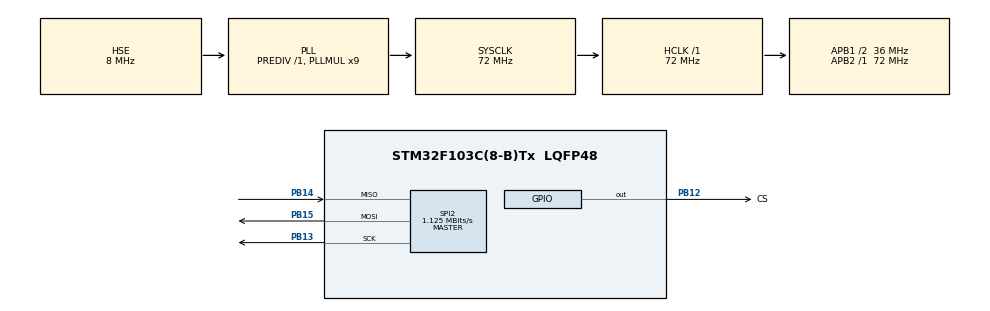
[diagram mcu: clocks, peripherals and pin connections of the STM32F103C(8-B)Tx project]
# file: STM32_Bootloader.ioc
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Mcu.Family=STM32F1
Mcu.Name=STM32F103C(8-B)Tx
Mcu.Package=LQFP48
NVIC.PriorityGroup=NVIC_PRIORITYGROUP_4
PA13.Mode=Serial_Wire
PA13.Signal=SYS_JTMS-SWDIO
PA14.Mode=Serial_Wire
PA14.Signal=SYS_JTCK-SWCLK
PB12.GPIO_Label=CS
PB12.GPIO_Speed=GPIO_SPEED_FREQ_HIGH
PB12.PinState=GPIO_PIN_SET
PB12.Signal=GPIO_Output
PB13.Mode=Full_Duplex_Master
PB13.Signal=SPI2_SCK
PB14.Mode=Full_Duplex_Master
PB14.Signal=SPI2_MISO
PB15.Mode=Full_Duplex_Master
PB15.Signal=SPI2_MOSI
PD0-OSC_IN.Mode=HSE-External-Oscillator
PD0-OSC_IN.Signal=RCC_OSC_IN
PD1-OSC_OUT.Mode=HSE-External-Oscillator
PD1-OSC_OUT.Signal=RCC_OSC_OUT
ProjectManager.HeapSize=0x200
ProjectManager.StackSize=0x400
ProjectManager.TargetToolchain=STM32CubeIDE
RCC.AHBFreq_Value=72000000
RCC.APB1CLKDivider=RCC_HCLK_DIV2
RCC.APB1Freq_Value=36000000
RCC.APB1TimFreq_Value=72000000
RCC.APB2Freq_Value=72000000
RCC.APB2TimFreq_Value=72000000
RCC.HCLKFreq_Value=72000000
RCC.PLLMUL=RCC_PLL_MUL9
RCC.PLLSourceVirtual=RCC_PLLSOURCE_HSE
RCC.SYSCLKFreq_VALUE=72000000
RCC.SYSCLKSource=RCC_SYSCLKSOURCE_PLLCLK
RCC.USBFreq_Value=72000000
SPI2.BaudRatePrescaler=SPI_BAUDRATEPRESCALER_32
SPI2.CalculateBaudRate=1.125 MBits/s
SPI2.Direction=SPI_DIRECTION_2LINES
SPI2.Mode=SPI_MODE_MASTER
SPI2.VirtualType=VM_MASTER
board=custom

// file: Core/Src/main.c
/* USER CODE BEGIN Header */
/**
 ******************************************************************************
 * @file           : main.c
 * @brief          : Main program body
 ******************************************************************************
 * @attention
 *
 * Copyright (c) 2026 STMicroelectronics.
 * All rights reserved.
 *
 * This software is licensed under terms that can be found in the LICENSE file
 * in the root directory of this software component.
 * If no LICENSE file comes with this software, it is provided AS-IS.
 *
 ******************************************************************************
 */
/* USER CODE END Header */
#include "main.h"

/* USER CODE BEGIN Includes */
#include "bl_jump.h"
#include "w25q64.h"
#include "bl_backup.h"
#include "bl_ota.h"
#include "usart1.h"
/* USER CODE END Includes */

SPI_HandleTypeDef hspi2;

void SystemClock_Config(void);
static void MX_GPIO_Init(void);
static void MX_SPI2_Init(void);

/* USER CODE BEGIN 0 */
static uint32_t mem_base = 0;
static uint32_t mem_cursor = 0;
static uint32_t ota_image_total_size = 16;

void ota_mem_set_total_size(uint32_t size)
{
  ota_image_total_size = size;
}

int ota_read_mem(uint8_t *buf, uint32_t len)
{
  if(mem_cursor + len > ota_image_total_size)
    return -1;

  W25Q_FastRead(mem_base + mem_cursor, buf, len);

  mem_cursor += len;
  return 0;
}
/* USER CODE END 0 */

int main(void)
{

  /* MCU Configuration--------------------------------------------------------*/

  /* Reset of all peripherals, Initializes the Flash interface and the Systick. */
  HAL_Init();

  /* Configure the system clock */
  SystemClock_Config();

  /* Initialize all configured peripherals */
  MX_GPIO_Init();
  MX_SPI2_Init();
  /* USER CODE BEGIN 2 */

  HAL_Delay(100);

  USART1_Init();

  USART1_SendString("\r\nBootloader Started !!!\r\n");

  // W25Q64 Flash Initialize
  W25Q_Reset();
  uint32_t id = W25Q_ReadID();

  if(id != 0xEF4017)
  {
    USART1_SendString("ERROR: W25Q64 not found!\r\n");
  }
  else
  {
    USART1_SendString("W25Q64 OK\r\n");
  }

  /* ── OTA flow ─────────────────────────────────────────────────── */
  if(check_ota_request() == 0)
  {
    USART1_SendString("OTA Requested...\r\n");

    bool proceed_with_ota = false;
    bl_backup_status_t bak = bl_backup_current_app();

    if(bak == BL_BACKUP_OK)
    {
      USART1_SendString("Backup OK\r\n");
      proceed_with_ota = true;
    }
    else if(bak == BL_BACKUP_ERR_READ)
    {
      USART1_SendString("No valid app to back up - proceeding\r\n");
      proceed_with_ota = true;
    }
    else
    {
      USART1_SendString("Backup FAILED - aborting OTA\r\n");
      proceed_with_ota = false;
    }

    if(proceed_with_ota)
    {
      ota_stream_t stream = { .read = ota_read_mem, .set_total_size = ota_mem_set_total_size };
      bl_ota_ctx_t ctx;

      if(bl_ota_run(&ctx, &stream) != 0)
      {
        USART1_SendString("OTA Failed - rolling back...\r\n");

        if(bl_restore_from_backup() != BL_BACKUP_OK)
        {
          USART1_SendString("ROLLBACK FAILED - no valid app\r\n");
          while(1)
          {
          }
        }
        USART1_SendString("Rollback OK\r\n");
      }
      else
      {
        USART1_SendString("OTA Flashed Successfully\r\n");
      }
    }
  }

  BootloaderError_t err = Bootloader_Is_App_Valid();

  if(err != BOOT_SUCCESS && bl_backup_available())
  {
    USART1_SendString("App invalid + backup present -> restoring\r\n");

    if(bl_restore_from_backup() == BL_BACKUP_OK)
    {
      err = Bootloader_Is_App_Valid(); /* re-check after restore */
    }
    else
    {
      USART1_SendString("Recovery FAILED - backup unusable\r\n");
    }
  }

  switch(err)
  {
    case BOOT_SUCCESS:
      USART1_SendString("App Valid - Jumping...\r\n");
      HAL_Delay(10);
      Jump_To_Application();
      break;

    case MAGIC_ERROR:
      USART1_SendString("Magic Error\r\n");
      break;

    case CRC_ERROR:
      USART1_SendString("CRC Error\r\n");
      break;

    case RESET_ERROR:
      USART1_SendString("Reset Error\r\n");
      break;

    case SIZE_ERROR:
      USART1_SendString("Size Error\r\n");
      break;
  }

  USART1_SendString("Staying in Bootloader\r\n");

  /* USER CODE END 2 */

  /* Infinite loop */
  while(1)
  {

  }
}

void SystemClock_Config(void)
{
  RCC_OscInitTypeDef RCC_OscInitStruct = { 0 };
  RCC_ClkInitTypeDef RCC_ClkInitStruct = { 0 };

  /** Initializes the RCC Oscillators according to the specified parameters
   * in the RCC_OscInitTypeDef structure.
   */
  RCC_OscInitStruct.OscillatorType = RCC_OSCILLATORTYPE_HSE;
  RCC_OscInitStruct.HSEState = RCC_HSE_ON;
  RCC_OscInitStruct.HSEPredivValue = RCC_HSE_PREDIV_DIV1;
  RCC_OscInitStruct.HSIState = RCC_HSI_ON;
  RCC_OscInitStruct.PLL.PLLState = RCC_PLL_ON;
  RCC_OscInitStruct.PLL.PLLSource = RCC_PLLSOURCE_HSE;
  RCC_OscInitStruct.PLL.PLLMUL = RCC_PLL_MUL9;
  if(HAL_RCC_OscConfig(&RCC_OscInitStruct) != HAL_OK)
  {
    Error_Handler();
  }

  /** Initializes the CPU, AHB and APB buses clocks
   */
  RCC_ClkInitStruct.ClockType = RCC_CLOCKTYPE_HCLK | RCC_CLOCKTYPE_SYSCLK | RCC_CLOCKTYPE_PCLK1 | RCC_CLOCKTYPE_PCLK2;
  RCC_ClkInitStruct.SYSCLKSource = RCC_SYSCLKSOURCE_PLLCLK;
  RCC_ClkInitStruct.AHBCLKDivider = RCC_SYSCLK_DIV1;
  RCC_ClkInitStruct.APB1CLKDivider = RCC_HCLK_DIV2;
  RCC_ClkInitStruct.APB2CLKDivider = RCC_HCLK_DIV1;

  if(HAL_RCC_ClockConfig(&RCC_ClkInitStruct, FLASH_LATENCY_2) != HAL_OK)
  {
    Error_Handler();
  }
}

static void MX_SPI2_Init(void)
{

  /* SPI2 parameter configuration*/
  hspi2.Instance = SPI2;
  hspi2.Init.Mode = SPI_MODE_MASTER;
  hspi2.Init.Direction = SPI_DIRECTION_2LINES;
  hspi2.Init.DataSize = SPI_DATASIZE_8BIT;
  hspi2.Init.CLKPolarity = SPI_POLARITY_LOW;
  hspi2.Init.CLKPhase = SPI_PHASE_1EDGE;
  hspi2.Init.NSS = SPI_NSS_SOFT;
  hspi2.Init.BaudRatePrescaler = SPI_BAUDRATEPRESCALER_32;
  hspi2.Init.FirstBit = SPI_FIRSTBIT_MSB;
  hspi2.Init.TIMode = SPI_TIMODE_DISABLE;
  hspi2.Init.CRCCalculation = SPI_CRCCALCULATION_DISABLE;
  hspi2.Init.CRCPolynomial = 10;
  if(HAL_SPI_Init(&hspi2) != HAL_OK)
  {
    Error_Handler();
  }

}

static void MX_GPIO_Init(void)
{
  GPIO_InitTypeDef GPIO_InitStruct = { 0 };

  /* GPIO Ports Clock Enable */
  __HAL_RCC_GPIOD_CLK_ENABLE();
  __HAL_RCC_GPIOB_CLK_ENABLE();
  __HAL_RCC_GPIOA_CLK_ENABLE();

  /*Configure GPIO pin Output Level */
  HAL_GPIO_WritePin(CS_GPIO_Port, CS_Pin, GPIO_PIN_SET);

  /*Configure GPIO pin : CS_Pin */
  GPIO_InitStruct.Pin = CS_Pin;
  GPIO_InitStruct.Mode = GPIO_MODE_OUTPUT_PP;
  GPIO_InitStruct.Pull = GPIO_NOPULL;
  GPIO_InitStruct.Speed = GPIO_SPEED_FREQ_HIGH;
  HAL_GPIO_Init(CS_GPIO_Port, &GPIO_InitStruct);

}

void Error_Handler(void)
{
  __disable_irq();
  while(1)
  {
  }
}
